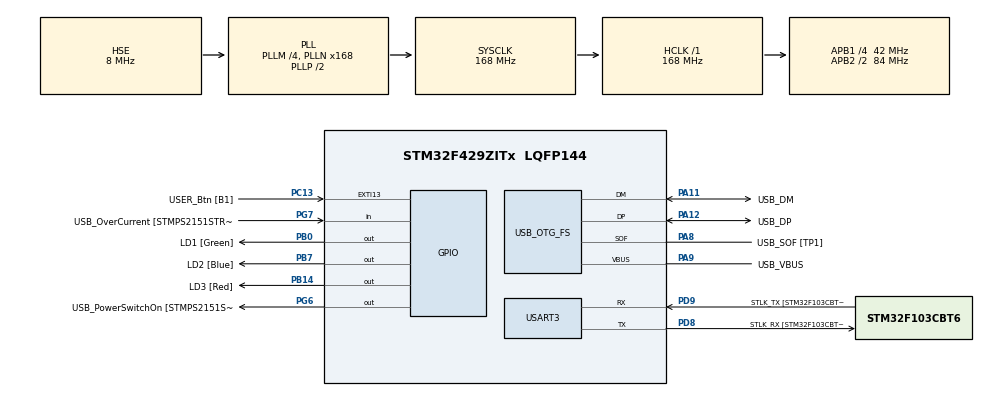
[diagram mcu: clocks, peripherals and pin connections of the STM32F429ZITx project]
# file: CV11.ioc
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Mcu.Family=STM32F4
Mcu.Name=STM32F429ZITx
Mcu.Package=LQFP144
NVIC.OTG_FS_IRQn=true\:0\:0\:false\:false\:true\:false\:true\:true
NVIC.PriorityGroup=NVIC_PRIORITYGROUP_4
PA1.GPIO_Label=RMII_REF_CLK [LAN8742A-CZ-TR_REFCLK0]
PA1.Signal=ETH_REF_CLK
PA10.GPIO_Label=USB_ID
PA10.Signal=USB_OTG_FS_ID
PA11.GPIO_Label=USB_DM
PA11.Mode=Device_Only
PA11.Signal=USB_OTG_FS_DM
PA12.GPIO_Label=USB_DP
PA12.Mode=Device_Only
PA12.Signal=USB_OTG_FS_DP
PA13.GPIO_Label=TMS
PA13.Mode=Serial_Wire
PA13.Signal=SYS_JTMS-SWDIO
PA14.GPIO_Label=TCK
PA14.Mode=Serial_Wire
PA14.Signal=SYS_JTCK-SWCLK
PA2.GPIO_Label=RMII_MDIO [LAN8742A-CZ-TR_MDIO]
PA2.Signal=ETH_MDIO
PA7.GPIO_Label=RMII_CRS_DV [LAN8742A-CZ-TR_CRS_DV]
PA7.Signal=ETH_CRS_DV
PA8.GPIO_Label=USB_SOF [TP1]
PA8.Mode=Activate_SOF_FS
PA8.Signal=USB_OTG_FS_SOF
PA9.GPIO_Label=USB_VBUS
PA9.Mode=Activate_VBUS
PA9.Signal=USB_OTG_FS_VBUS
PB0.GPIO_Label=LD1 [Green]
PB0.Signal=GPIO_Output
PB13.GPIO_Label=RMII_TXD1 [LAN8742A-CZ-TR_TXD1]
PB13.Signal=ETH_TXD1
PB14.GPIO_Label=LD3 [Red]
PB14.Signal=GPIO_Output
PB7.GPIO_Label=LD2 [Blue]
PB7.Signal=GPIO_Output
PC1.GPIO_Label=RMII_MDC [LAN8742A-CZ-TR_MDC]
PC1.Signal=ETH_MDC
PC13.GPIO_Label=USER_Btn [B1]
PC13.Signal=GPXTI13
PC14/OSC32_IN.Mode=LSE-External-Oscillator
PC14/OSC32_IN.Signal=RCC_OSC32_IN
PC15/OSC32_OUT.Mode=LSE-External-Oscillator
PC15/OSC32_OUT.Signal=RCC_OSC32_OUT
PC4.GPIO_Label=RMII_RXD0 [LAN8742A-CZ-TR_RXD0]
PC4.Signal=ETH_RXD0
PC5.GPIO_Label=RMII_RXD1 [LAN8742A-CZ-TR_RXD1]
PC5.Signal=ETH_RXD1
PD8.GPIO_Label=STLK_RX [STM32F103CBT6_PA3]
PD8.Mode=Asynchronous
PD8.Signal=USART3_TX
PD9.GPIO_Label=STLK_TX [STM32F103CBT6_PA2]
PD9.Mode=Asynchronous
PD9.Signal=USART3_RX
PG11.GPIO_Label=RMII_TX_EN [LAN8742A-CZ-TR_TXEN]
PG11.Signal=ETH_TX_EN
PG13.GPIO_Label=RMII_TXD0 [LAN8742A-CZ-TR_TXD0]
PG13.Signal=ETH_TXD0
PG6.GPIO_Label=USB_PowerSwitchOn [STMPS2151STR_EN]
PG6.Signal=GPIO_Output
PG7.GPIO_Label=USB_OverCurrent [STMPS2151STR_FAULT]
PG7.Signal=GPIO_Input
PH0/OSC_IN.GPIO_Label=MCO [STM32F103CBT6_PA8]
PH0/OSC_IN.Mode=HSE-External-Clock-Source
PH0/OSC_IN.Signal=RCC_OSC_IN
PH1/OSC_OUT.Mode=HSE-External-Clock-Source
PH1/OSC_OUT.Signal=RCC_OSC_OUT
ProjectManager.HeapSize=0x200
ProjectManager.StackSize=0x400
ProjectManager.TargetToolchain=STM32CubeIDE
RCC.48MHZClocksFreq_Value=48000000
RCC.AHBFreq_Value=168000000
RCC.APB1CLKDivider=RCC_HCLK_DIV4
RCC.APB1Freq_Value=42000000
RCC.APB1TimFreq_Value=84000000
RCC.APB2CLKDivider=RCC_HCLK_DIV2
RCC.APB2Freq_Value=84000000
RCC.APB2TimCLKDivider=2
RCC.APB2TimFreq_Value=168000000
RCC.CortexFreq_Value=168000000
RCC.HCLKFreq_Value=168000000
RCC.HSE_VALUE=8000000
RCC.HSI_VALUE=16000000
RCC.PLLM=4
RCC.PLLMUL=RCC_PLL_MUL9
RCC.PLLN=168
RCC.PLLQ=7
RCC.PRESCALERUSB=RCC_USBCLKSOURCE_PLL_DIV1_5
RCC.SYSCLKFreq_VALUE=168000000
RCC.SYSCLKSource=RCC_SYSCLKSOURCE_PLLCLK
RCC.SYSCLKSourceVirtual=RCC_SYSCLKSOURCE_PLLCLK
RCC.USBFreq_Value=48000000
RCC.VCOOutputFreq_Value=336000000
USART3.VirtualMode=VM_ASYNC
USB_DEVICE.CLASS_NAME_FS=HID
USB_DEVICE.VirtualMode-HID_FS=Hid
USB_DEVICE.VirtualModeFS=Hid_FS
USB_OTG_FS.VirtualMode=Device_Only
VP_USB_DEVICE_VS_USB_DEVICE_HID_FS.Mode=HID_FS
board=NUCLEO-F429ZI

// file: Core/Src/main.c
/* USER CODE BEGIN Header */
/**
 ******************************************************************************
 * @file           : main.c
 * @brief          : Main program body
 ******************************************************************************
 * @attention
 *
 * Copyright (c) 2023 STMicroelectronics.
 * All rights reserved.
 *
 * This software is licensed under terms that can be found in the LICENSE file
 * in the root directory of this software component.
 * If no LICENSE file comes with this software, it is provided AS-IS.
 *
 ******************************************************************************
 */
/* USER CODE END Header */
#include "main.h"
#include "usb_device.h"

/* USER CODE BEGIN Includes */
#include "usbd_hid.h"
#include <stdbool.h>
#include <math.h>
/* USER CODE END Includes */

/* USER CODE BEGIN PTD */
extern USBD_HandleTypeDef hUsbDeviceFS;
/* USER CODE END PTD */

/* USER CODE BEGIN PD */
void step(int x, int y, bool btn){
	uint8_t buff[4];
	buff[0] = btn; // stiskni leve tlacitko
	buff[1] = (int8_t)(x); // posun X +10
	buff[2] = (int8_t)(y); // posun Y -3
	buff[3] = 0; // bez scrollu
	USBD_HID_SendReport(&hUsbDeviceFS, buff, sizeof(buff));
	HAL_Delay(USBD_HID_GetPollingInterval(&hUsbDeviceFS));

};

void circle(int radius,bool arc){

	float x;
	float y;
	int dx;
	int dy;
	int sx;
	int sy;

	if (arc){
		for (float phi=M_PI/2; phi < (3*M_PI/2); phi+=M_PI/25){
			x= radius*cosf(phi);
			y= radius*sinf(phi);
			step(x,y,1);

			dx=x-sx;
			dy=y-sy;
			sx+=dx;
			sy+=dy;
		}

	}else{
		for (float phi=0; phi < (2*M_PI+M_PI/25); phi+=M_PI/25){
			x= radius*cosf(phi);
			y= radius*sinf(phi);
			step(x,y,1);

			dx=x-sx;
			dy=y-sy;
			sx+=dx;
			sy+=dy;
		}
	}
};

void smile(int radius){
	circle(radius,0);
	step(0,0,0);
	step(-50,50,0);
	circle(radius-15,0);
	step(0,0,0);
	step(100,0,0);
	circle(radius-15,0);
	step(0,0,0);
	step(-50,50,1);
	step(0,30,0);
	step(65,10,0);
	circle(radius-5,1);

};

/* USER CODE END PD */

UART_HandleTypeDef huart3;

void SystemClock_Config(void);
static void MX_GPIO_Init(void);
static void MX_USART3_UART_Init(void);

int main(void)
{

	/* MCU Configuration--------------------------------------------------------*/

	/* Reset of all peripherals, Initializes the Flash interface and the Systick. */
	HAL_Init();

	/* Configure the system clock */
	SystemClock_Config();

	/* Initialize all configured peripherals */
	MX_GPIO_Init();
	MX_USART3_UART_Init();
	MX_USB_DEVICE_Init();
	/* USER CODE BEGIN 2 */
	bool btn;

	/* USER CODE END 2 */

	/* Infinite loop */
	while (1)
	{

		/* USER CODE BEGIN 3 */
		btn=HAL_GPIO_ReadPin(USER_Btn_GPIO_Port,USER_Btn_Pin);
		if (btn){
			//step(10,-3,btn);
			//circle(20,1);
			smile(20);
		}else{
			step(0,0,0);
		}

	}
	/* USER CODE END 3 */
}

void SystemClock_Config(void)
{
	RCC_OscInitTypeDef RCC_OscInitStruct = {0};
	RCC_ClkInitTypeDef RCC_ClkInitStruct = {0};

	/** Configure the main internal regulator output voltage
	 */
	__HAL_RCC_PWR_CLK_ENABLE();
	__HAL_PWR_VOLTAGESCALING_CONFIG(PWR_REGULATOR_VOLTAGE_SCALE1);

	/** Initializes the RCC Oscillators according to the specified parameters
	 * in the RCC_OscInitTypeDef structure.
	 */
	RCC_OscInitStruct.OscillatorType = RCC_OSCILLATORTYPE_HSE;
	RCC_OscInitStruct.HSEState = RCC_HSE_BYPASS;
	RCC_OscInitStruct.PLL.PLLState = RCC_PLL_ON;
	RCC_OscInitStruct.PLL.PLLSource = RCC_PLLSOURCE_HSE;
	RCC_OscInitStruct.PLL.PLLM = 4;
	RCC_OscInitStruct.PLL.PLLN = 168;
	RCC_OscInitStruct.PLL.PLLP = RCC_PLLP_DIV2;
	RCC_OscInitStruct.PLL.PLLQ = 7;
	if (HAL_RCC_OscConfig(&RCC_OscInitStruct) != HAL_OK)
	{
		Error_Handler();
	}

	/** Initializes the CPU, AHB and APB buses clocks
	 */
	RCC_ClkInitStruct.ClockType = RCC_CLOCKTYPE_HCLK|RCC_CLOCKTYPE_SYSCLK
			|RCC_CLOCKTYPE_PCLK1|RCC_CLOCKTYPE_PCLK2;
	RCC_ClkInitStruct.SYSCLKSource = RCC_SYSCLKSOURCE_PLLCLK;
	RCC_ClkInitStruct.AHBCLKDivider = RCC_SYSCLK_DIV1;
	RCC_ClkInitStruct.APB1CLKDivider = RCC_HCLK_DIV4;
	RCC_ClkInitStruct.APB2CLKDivider = RCC_HCLK_DIV2;

	if (HAL_RCC_ClockConfig(&RCC_ClkInitStruct, FLASH_LATENCY_5) != HAL_OK)
	{
		Error_Handler();
	}
}

static void MX_USART3_UART_Init(void)
{

	huart3.Instance = USART3;
	huart3.Init.BaudRate = 115200;
	huart3.Init.WordLength = UART_WORDLENGTH_8B;
	huart3.Init.StopBits = UART_STOPBITS_1;
	huart3.Init.Parity = UART_PARITY_NONE;
	huart3.Init.Mode = UART_MODE_TX_RX;
	huart3.Init.HwFlowCtl = UART_HWCONTROL_NONE;
	huart3.Init.OverSampling = UART_OVERSAMPLING_16;
	if (HAL_UART_Init(&huart3) != HAL_OK)
	{
		Error_Handler();
	}

}

static void MX_GPIO_Init(void)
{
	GPIO_InitTypeDef GPIO_InitStruct = {0};

	/* GPIO Ports Clock Enable */
	__HAL_RCC_GPIOC_CLK_ENABLE();
	__HAL_RCC_GPIOH_CLK_ENABLE();
	__HAL_RCC_GPIOA_CLK_ENABLE();
	__HAL_RCC_GPIOB_CLK_ENABLE();
	__HAL_RCC_GPIOD_CLK_ENABLE();
	__HAL_RCC_GPIOG_CLK_ENABLE();

	/*Configure GPIO pin Output Level */
	HAL_GPIO_WritePin(GPIOB, LD1_Pin|LD3_Pin|LD2_Pin, GPIO_PIN_RESET);

	/*Configure GPIO pin Output Level */
	HAL_GPIO_WritePin(USB_PowerSwitchOn_GPIO_Port, USB_PowerSwitchOn_Pin, GPIO_PIN_RESET);

	/*Configure GPIO pin : USER_Btn_Pin */
	GPIO_InitStruct.Pin = USER_Btn_Pin;
	GPIO_InitStruct.Mode = GPIO_MODE_IT_RISING;
	GPIO_InitStruct.Pull = GPIO_NOPULL;
	HAL_GPIO_Init(USER_Btn_GPIO_Port, &GPIO_InitStruct);

	/*Configure GPIO pins : RMII_MDC_Pin RMII_RXD0_Pin RMII_RXD1_Pin */
	GPIO_InitStruct.Pin = RMII_MDC_Pin|RMII_RXD0_Pin|RMII_RXD1_Pin;
	GPIO_InitStruct.Mode = GPIO_MODE_AF_PP;
	GPIO_InitStruct.Pull = GPIO_NOPULL;
	GPIO_InitStruct.Speed = GPIO_SPEED_FREQ_VERY_HIGH;
	GPIO_InitStruct.Alternate = GPIO_AF11_ETH;
	HAL_GPIO_Init(GPIOC, &GPIO_InitStruct);

	/*Configure GPIO pins : RMII_REF_CLK_Pin RMII_MDIO_Pin RMII_CRS_DV_Pin */
	GPIO_InitStruct.Pin = RMII_REF_CLK_Pin|RMII_MDIO_Pin|RMII_CRS_DV_Pin;
	GPIO_InitStruct.Mode = GPIO_MODE_AF_PP;
	GPIO_InitStruct.Pull = GPIO_NOPULL;
	GPIO_InitStruct.Speed = GPIO_SPEED_FREQ_VERY_HIGH;
	GPIO_InitStruct.Alternate = GPIO_AF11_ETH;
	HAL_GPIO_Init(GPIOA, &GPIO_InitStruct);

	/*Configure GPIO pins : LD1_Pin LD3_Pin LD2_Pin */
	GPIO_InitStruct.Pin = LD1_Pin|LD3_Pin|LD2_Pin;
	GPIO_InitStruct.Mode = GPIO_MODE_OUTPUT_PP;
	GPIO_InitStruct.Pull = GPIO_NOPULL;
	GPIO_InitStruct.Speed = GPIO_SPEED_FREQ_LOW;
	HAL_GPIO_Init(GPIOB, &GPIO_InitStruct);

	/*Configure GPIO pin : RMII_TXD1_Pin */
	GPIO_InitStruct.Pin = RMII_TXD1_Pin;
	GPIO_InitStruct.Mode = GPIO_MODE_AF_PP;
	GPIO_InitStruct.Pull = GPIO_NOPULL;
	GPIO_InitStruct.Speed = GPIO_SPEED_FREQ_VERY_HIGH;
	GPIO_InitStruct.Alternate = GPIO_AF11_ETH;
	HAL_GPIO_Init(RMII_TXD1_GPIO_Port, &GPIO_InitStruct);

	/*Configure GPIO pin : USB_PowerSwitchOn_Pin */
	GPIO_InitStruct.Pin = USB_PowerSwitchOn_Pin;
	GPIO_InitStruct.Mode = GPIO_MODE_OUTPUT_PP;
	GPIO_InitStruct.Pull = GPIO_NOPULL;
	GPIO_InitStruct.Speed = GPIO_SPEED_FREQ_LOW;
	HAL_GPIO_Init(USB_PowerSwitchOn_GPIO_Port, &GPIO_InitStruct);

	/*Configure GPIO pin : USB_OverCurrent_Pin */
	GPIO_InitStruct.Pin = USB_OverCurrent_Pin;
	GPIO_InitStruct.Mode = GPIO_MODE_INPUT;
	GPIO_InitStruct.Pull = GPIO_NOPULL;
	HAL_GPIO_Init(USB_OverCurrent_GPIO_Port, &GPIO_InitStruct);

	/*Configure GPIO pins : RMII_TX_EN_Pin RMII_TXD0_Pin */
	GPIO_InitStruct.Pin = RMII_TX_EN_Pin|RMII_TXD0_Pin;
	GPIO_InitStruct.Mode = GPIO_MODE_AF_PP;
	GPIO_InitStruct.Pull = GPIO_NOPULL;
	GPIO_InitStruct.Speed = GPIO_SPEED_FREQ_VERY_HIGH;
	GPIO_InitStruct.Alternate = GPIO_AF11_ETH;
	HAL_GPIO_Init(GPIOG, &GPIO_InitStruct);

}

void Error_Handler(void)
{
	__disable_irq();
	while (1)
	{
	}
}
